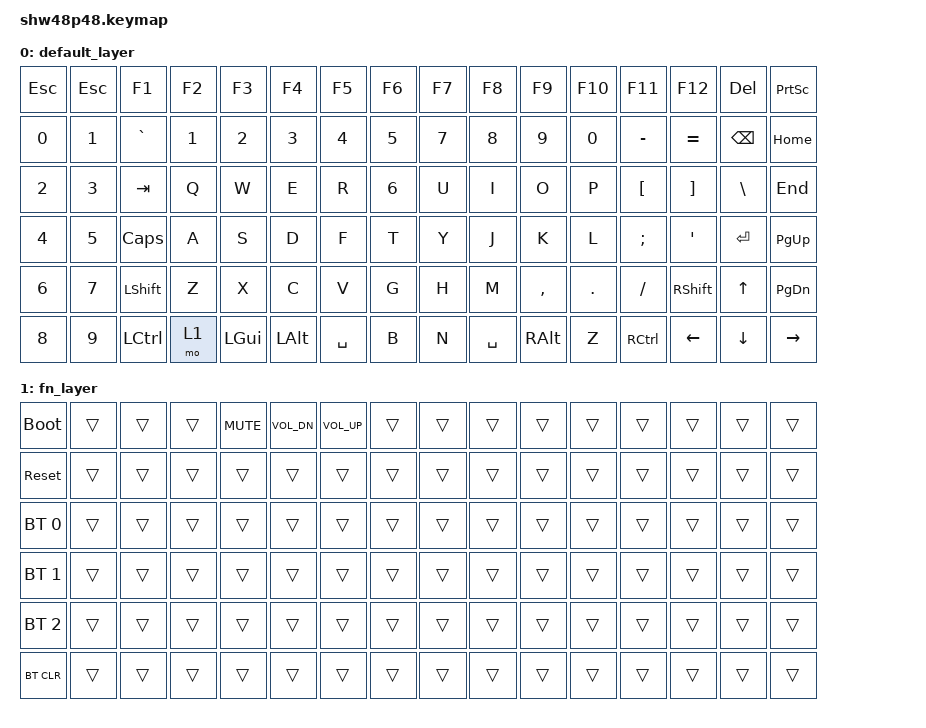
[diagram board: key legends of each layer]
#include <behaviors.dtsi>
#include <dt-bindings/zmk/keys.h>
#include <dt-bindings/zmk/bt.h>

/ {
    keymap {
        compatible = "zmk,keymap";

        default_layer {
            bindings = <
                &kp ESC    &kp ESC    &kp F1     &kp F2     &kp F3     &kp F4     &kp F5      &kp F6      &kp F7      &kp F8      &kp F9      &kp F10     &kp F11      &kp F12      &kp DEL      &kp PSCRN
                &kp N0     &kp N1     &kp GRAVE  &kp N1     &kp N2     &kp N3     &kp N4      &kp N5      &kp N7      &kp N8      &kp N9      &kp N0      &kp MINUS    &kp EQUAL    &kp BSPC     &kp HOME
                &kp N2     &kp N3     &kp TAB    &kp Q      &kp W      &kp E      &kp R       &kp N6      &kp U       &kp I       &kp O       &kp P       &kp LBKT     &kp RBKT     &kp BSLH     &kp END
                &kp N4     &kp N5     &kp CLCK   &kp A      &kp S      &kp D      &kp F       &kp T       &kp Y       &kp J       &kp K       &kp L       &kp SEMI     &kp SQT      &kp RET      &kp PG_UP
                &kp N6     &kp N7     &kp LSHFT  &kp Z      &kp X      &kp C      &kp V       &kp G       &kp H       &kp M       &kp COMMA   &kp DOT     &kp FSLH     &kp RSHFT    &kp UP       &kp PG_DN
                &kp N8     &kp N9     &kp LCTRL  &mo 1      &kp LGUI   &kp LALT   &kp SPACE   &kp B       &kp N       &kp SPACE   &kp RALT    &kp Z       &kp RCTRL    &kp LEFT     &kp DOWN     &kp RIGHT
            >;
        };

        fn_layer {
            bindings = <
                /* M1          M2      F1       F2         F3          F4            F5            F6         F7         F8       F9       F10      F11        F12      Del      PrtSc */
                &bootloader   &trans  &trans   &trans     &kp C_MUTE  &kp C_VOL_DN  &kp C_VOL_UP  &trans     &trans     &trans   &trans   &trans   &trans     &trans   &trans   &trans
                /* 0           1       `        1          2           3             4             5          7          8        9        0        -          +        Bspc     Home */
                &sys_reset    &trans  &trans   &trans     &trans      &trans        &trans        &trans     &trans     &trans   &trans   &trans   &trans     &trans   &trans   &trans
                &bt BT_SEL 0  &trans  &trans   &trans     &trans      &trans        &trans        &trans     &trans     &trans   &trans   &trans   &trans     &trans   &trans   &trans
                &bt BT_SEL 1  &trans  &trans   &trans     &trans      &trans        &trans        &trans     &trans     &trans   &trans   &trans   &trans     &trans   &trans   &trans
                &bt BT_SEL 2  &trans  &trans   &trans     &trans      &trans        &trans        &trans     &trans     &trans   &trans   &trans   &trans     &trans   &trans   &trans
                &bt BT_CLR    &trans  &trans   &trans     &trans      &trans        &trans        &trans     &trans     &trans   &trans   &trans   &trans     &trans   &trans   &trans
            >;
        };
    };
};
